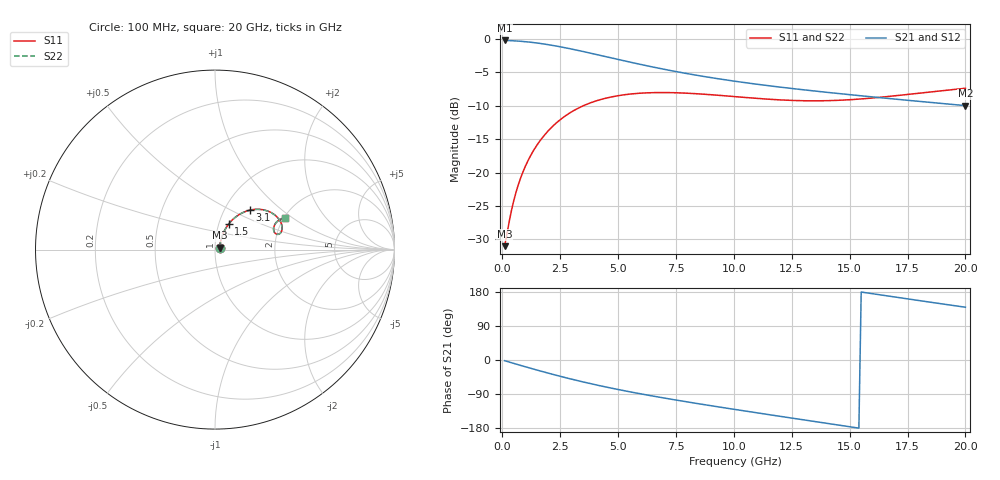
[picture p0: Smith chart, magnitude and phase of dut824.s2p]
! Touchstone file exported from HFSS 2024.1.0
!  File:  C:/UserFiles/LocalFiles/RDL_TSV_Batchsim/temp_RDL_TSV_824_1779915963.aedt
!  Generated:  05:25:45 AM May 28, 2026
!  Design:  RDL_TSV
!  Project:  temp_RDL_TSV_824_1779915963
!  Setup:  Setup1
!  Solution:  Sweep
! Variables:
!  dtsv = 5.19um
!  hbump = 3um
!  htsv = 87.84um
!  ldown = 255.34um
!  lrdl = 579.6um
!  p = 40
!  p1 = 51.66um
!  rhole = 10um
!  subl = 3084.42um
!  t = 450um
!  tdown = 2.92um
!  trdl = 3.62um
!  viad = 10um
!  wdown = 12.69um
!  wrdl = 13.45um
!  xbump = 18um
# GHz S MA R 50.000000
! Terminal data exported
! Port[1] = TM1_1_T1
! Port[2] = TM1_4_T1
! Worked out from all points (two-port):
!   200 points, 100 MHz to 20 GHz, reference 50 ohm
!   highest |S21| = -0.23 dB at 100 MHz (marker M1); lowest = -10.0 dB at 20 GHz (marker M2)
!   |S21| within 3 dB of the highest: start of sweep to 5.204 GHz
!   lowest |S11| = -31.0 dB at 100 MHz (marker M3), VSWR 1.06, Z = 52.7 + j1.16 ohm
!   |S11| at or under -10 dB: start of sweep to 3.498 GHz
!   |S22| runs from -31.0 to -7.4 dB; largest |S21 - S12| = 8.9e-15
!   S11 on the Smith chart (normalised r, x): 100 MHz: 1.05, +0.02; 1.5 GHz: 1.11, +0.32; 3.1 GHz: 1.31, +0.63; 20 GHz: 2.02, +0.87
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0.1  0.02817 22.9  0.9741 -1.8  0.9741 -1.8  0.02817 22.9
! Gamma 0 0 0 0
! Port Impedance 50 0 50 0
0.4  0.05247 54.3  0.9701 -7.3  0.9701 -7.3  0.05247 54.3
0.5  0.06216 57.9  0.968 -9.1  0.968 -9.1  0.06216 57.9
0.7  0.08196 61.7  0.9631 -12.7  0.9631 -12.7  0.08196 61.7
1.1  0.1218 63.3  0.9499 -19.7  0.9499 -19.7  0.1218 63.3
1.5  0.1608 61.9  0.9323 -26.6  0.9323 -26.6  0.1608 61.9
2.2  0.2242 56.8  0.893 -38.2  0.893 -38.2  0.2241 56.7
2.6  0.2564 53.3  0.8671 -44.6  0.8671 -44.6  0.2563 53.2
3.1  0.292 48.7  0.8327 -52.2  0.8327 -52.2  0.2918 48.7
3.5  0.3163 45.1  0.8045 -58.0  0.8045 -58.0  0.3161 45.1
4.2  0.3502 39.1  0.7555 -67.7  0.7555 -67.7  0.3498 39.1
5.1  0.3786 32.3  0.6961 -79.1  0.6961 -79.1  0.3782 32.2
5.9  0.3921 27.1  0.6486 -88.5  0.6486 -88.5  0.3916 27.0
6.8  0.3972 22.3  0.6018 -98.4  0.6018 -98.4  0.3965 22.2
8.4  0.3891 16.4  0.5346 -114.7  0.5346 -114.7  0.3883 16.3
10.1  0.3696 13.7  0.4811 -131.0  0.4811 -131.0  0.3687 13.7
11.7  0.3523 14.3  0.4424 -145.9  0.4424 -145.9  0.3514 14.3
13.4  0.3443 17.3  0.4093 -161.5  0.4093 -161.5  0.3434 17.3
15  0.3509 20.9  0.383 -176.1  0.383 -176.1  0.3501 20.9
16.7  0.3715 23.7  0.3583 168.5  0.3583 168.5  0.3708 23.8
18.4  0.4 24.8  0.3361 153.3  0.3361 153.3  0.3993 24.9
20  0.4276 24.3  0.3173 139.2  0.3173 139.2  0.427 24.3
